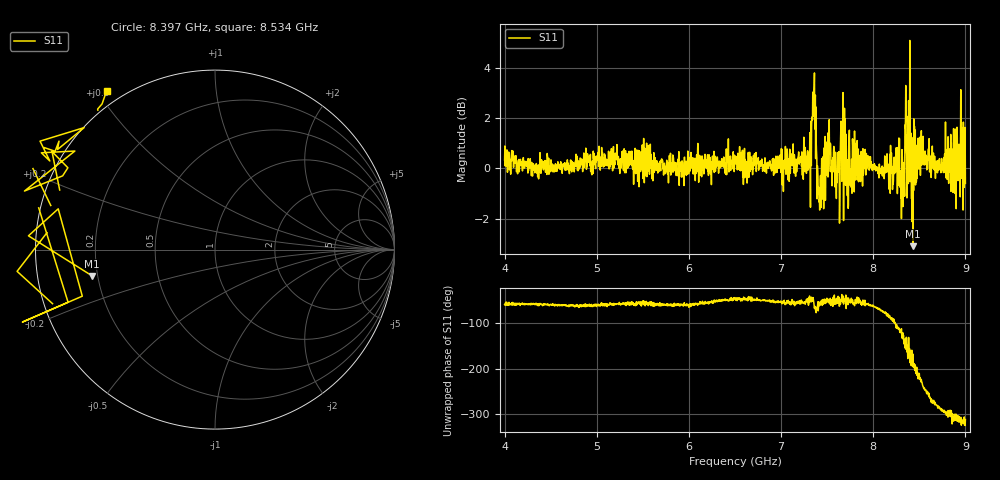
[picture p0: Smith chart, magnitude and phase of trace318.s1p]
! Created with skrf 1.8.0 (http://scikit-rf.org).
# Hz S RI R 50.0
!freq ReS11 ImS11
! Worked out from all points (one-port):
!   1601 points, 4 GHz to 9 GHz, reference 50 ohm
!   lowest |S11| = -3.1 dB at 8.431 GHz (marker M1), VSWR 5.67, Z = 8.91 - j5.11 ohm
!   |S11| at or under -10 dB: nowhere
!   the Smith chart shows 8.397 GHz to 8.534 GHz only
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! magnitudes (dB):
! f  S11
! 4 GHz  0.3
! 4.625 GHz  -0.2
! 5.25 GHz  -0.2
! 5.875 GHz  -0.1
! 6.5 GHz  0.5
! 7.038 GHz  0.0
! 7.125 GHz  0.4
! 7.294 GHz  0.2
! 7.356 GHz  3.0
! 7.369 GHz  2.7
! 7.4 GHz  -0.3
! 7.428 GHz  -0.3
! 7.512 GHz  1.4
! 7.619 GHz  0.0
! 7.669 GHz  1.6
! 7.75 GHz  -0.7
! 7.822 GHz  0.7
! 8.194 GHz  -0.2
! 8.259 GHz  -0.1
! 8.316 GHz  0.4
! 8.334 GHz  -0.1
! 8.375 GHz  0.0
! 8.431 GHz  -3.1
! 8.497 GHz  0.4
! 8.875 GHz  0.2
! 8.928 GHz  0.9
! 8.972 GHz  0.9
! 9 GHz  -0.6
